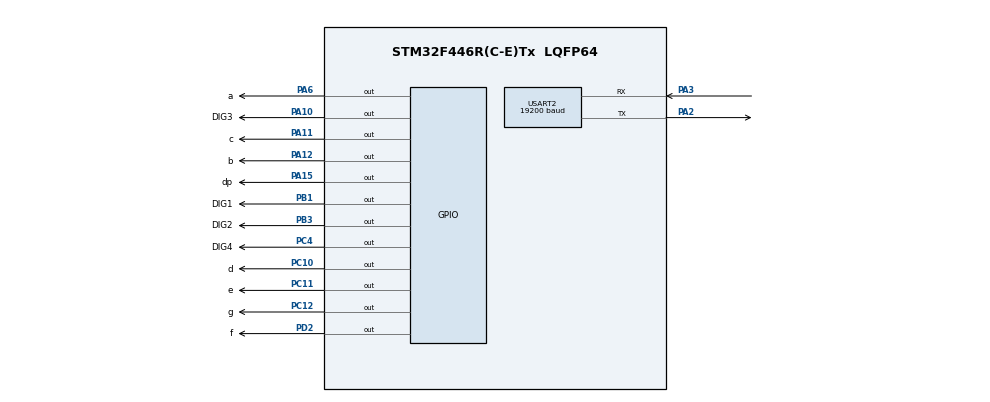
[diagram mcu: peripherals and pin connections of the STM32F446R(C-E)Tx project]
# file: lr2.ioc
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Mcu.Family=STM32F4
RCC.CortexFreq_Value=16000000
PC10.GPIO_Label=d
PC10.Signal=GPIO_Output
PC11.Signal=GPIO_Output
PC12.Signal=GPIO_Output
PC4.Signal=GPIO_Output
PA11.GPIO_Label=c
PA6.GPIO_Label=a
NVIC.USART2_IRQn=true\:0\:0\:false\:false\:true\:true\:true
USART2.BaudRate=19200
PA12.GPIO_Label=b
ProjectManager.StackSize=0x400
PA3.Mode=Asynchronous
PA15.GPIO_Label=dp
PA12.Signal=GPIO_Output
ProjectManager.TargetToolchain=STM32CubeIDE
RCC.USBFreq_Value=96000000
board=custom
RCC.VCOOutputFreq_Value=192000000
PC4.GPIO_Label=DIG4
PB1.GPIO_Label=DIG1
PC11.GPIO_Label=e
PA10.GPIO_Label=DIG3
Mcu.Name=STM32F446R(C-E)Tx
PA2.Signal=USART2_TX
PB3.Signal=GPIO_Output
Mcu.Package=LQFP64
PB1.Signal=GPIO_Output
PA6.Signal=GPIO_Output
USART2.VirtualMode=VM_ASYNC
PC12.GPIO_Label=g
PA11.Signal=GPIO_Output
PA10.Signal=GPIO_Output
PA15.Signal=GPIO_Output
ProjectManager.HeapSize=0x200
NVIC.PriorityGroup=NVIC_PRIORITYGROUP_4
PA2.Mode=Asynchronous
PD2.Signal=GPIO_Output
PD2.GPIO_Label=f
PA3.Signal=USART2_RX
PB3.GPIO_Label=DIG2

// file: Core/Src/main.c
/* USER CODE BEGIN Header */
/**
  ******************************************************************************
  * @file           : main.c
  * @brief          : Main program body
  * @author 		: Denis Kirbaba
  ******************************************************************************
  * @attention
  *
  * <h2><center>&copy; Copyright (c) 2023 STMicroelectronics.
  * All rights reserved.</center></h2>
  *
  * This software component is licensed by ST under BSD 3-Clause license,
  * the "License"; You may not use this file except in compliance with the
  * License. You may obtain a copy of the License at:
  *                        opensource.org/licenses/BSD-3-Clause
  *
  ******************************************************************************
  */
/* USER CODE END Header */
#include "main.h"
#include <stdlib.h>
#include <math.h>
#include <stdio.h>
#include <stdint.h>

UART_HandleTypeDef huart2;

/* USER CODE BEGIN PV */
int n_r;
int res_n;
uint8_t tx_buffer[5];
uint8_t rx_buffer[4];
uint8_t firstByteWait = 1;
/* USER CODE END PV */

void SystemClock_Config(void);
static void MX_GPIO_Init(void);
static void MX_USART2_UART_Init(void);

/* USER CODE BEGIN 0 */

void set_line () {
    HAL_GPIO_WritePin(GPIOA, a_Pin, GPIO_PIN_SET); //A
    HAL_GPIO_WritePin(GPIOA, b_Pin, GPIO_PIN_SET); //B
    HAL_GPIO_WritePin(GPIOA, c_Pin, GPIO_PIN_SET); //C
    HAL_GPIO_WritePin(GPIOC, d_Pin, GPIO_PIN_SET); //D
    HAL_GPIO_WritePin(GPIOC, e_Pin, GPIO_PIN_SET); //E
    HAL_GPIO_WritePin(GPIOD, f_Pin, GPIO_PIN_SET);	//F
    HAL_GPIO_WritePin(GPIOC, g_Pin, GPIO_PIN_RESET);  //G
    HAL_GPIO_WritePin(GPIOA, dp_Pin, GPIO_PIN_SET);  //dp
}

void set_number (int number)
{
    switch (number)
    {
        case 0:
        {
            HAL_GPIO_WritePin(GPIOA, a_Pin, GPIO_PIN_RESET); //A
            HAL_GPIO_WritePin(GPIOA, b_Pin, GPIO_PIN_RESET); //B
            HAL_GPIO_WritePin(GPIOA, c_Pin, GPIO_PIN_RESET); //C
            HAL_GPIO_WritePin(GPIOC, d_Pin, GPIO_PIN_RESET); //D
            HAL_GPIO_WritePin(GPIOC, e_Pin, GPIO_PIN_RESET); //E
            HAL_GPIO_WritePin(GPIOD, f_Pin, GPIO_PIN_RESET);	//F
            HAL_GPIO_WritePin(GPIOC, g_Pin, GPIO_PIN_SET);  //G
            HAL_GPIO_WritePin(GPIOA, dp_Pin, GPIO_PIN_SET);  //dp

            break;
        }

        case 1:
        {
            HAL_GPIO_WritePin(GPIOA, a_Pin, GPIO_PIN_SET); //A
            HAL_GPIO_WritePin(GPIOA, b_Pin, GPIO_PIN_RESET); //B
            HAL_GPIO_WritePin(GPIOA, c_Pin, GPIO_PIN_RESET); //C
            HAL_GPIO_WritePin(GPIOC, d_Pin, GPIO_PIN_SET); //D
            HAL_GPIO_WritePin(GPIOC, e_Pin, GPIO_PIN_SET); //E
            HAL_GPIO_WritePin(GPIOD, f_Pin, GPIO_PIN_SET);	//F
            HAL_GPIO_WritePin(GPIOC, g_Pin, GPIO_PIN_SET);  //G
            HAL_GPIO_WritePin(GPIOA, dp_Pin, GPIO_PIN_SET);  //dp

            break;
        }

        case 2:
        {
            HAL_GPIO_WritePin(GPIOA, a_Pin, GPIO_PIN_RESET); //A
            HAL_GPIO_WritePin(GPIOA, b_Pin, GPIO_PIN_RESET); //B
            HAL_GPIO_WritePin(GPIOA, c_Pin, GPIO_PIN_SET); //C
            HAL_GPIO_WritePin(GPIOC, d_Pin, GPIO_PIN_RESET); //D
            HAL_GPIO_WritePin(GPIOC, e_Pin, GPIO_PIN_RESET); //E
            HAL_GPIO_WritePin(GPIOD, f_Pin, GPIO_PIN_SET);	//F
            HAL_GPIO_WritePin(GPIOC, g_Pin, GPIO_PIN_RESET);  //G
            HAL_GPIO_WritePin(GPIOA, dp_Pin, GPIO_PIN_SET);  //dp

            break;
        }

        case 3:
        {
            HAL_GPIO_WritePin(GPIOA, a_Pin, GPIO_PIN_RESET); //A
            HAL_GPIO_WritePin(GPIOA, b_Pin, GPIO_PIN_RESET); //B
            HAL_GPIO_WritePin(GPIOA, c_Pin, GPIO_PIN_RESET); //C
            HAL_GPIO_WritePin(GPIOC, d_Pin, GPIO_PIN_RESET); //D
            HAL_GPIO_WritePin(GPIOC, e_Pin, GPIO_PIN_SET); //E
            HAL_GPIO_WritePin(GPIOD, f_Pin, GPIO_PIN_SET);	//F
            HAL_GPIO_WritePin(GPIOC, g_Pin, GPIO_PIN_RESET);  //G

            HAL_GPIO_WritePin(GPIOA, dp_Pin, GPIO_PIN_SET);  //dp

            break;
        }

        case 4:
        {
            HAL_GPIO_WritePin(GPIOA, a_Pin, GPIO_PIN_SET); //A
            HAL_GPIO_WritePin(GPIOA, b_Pin, GPIO_PIN_RESET); //B
            HAL_GPIO_WritePin(GPIOA, c_Pin, GPIO_PIN_RESET); //C
            HAL_GPIO_WritePin(GPIOC, d_Pin, GPIO_PIN_SET); //D
            HAL_GPIO_WritePin(GPIOC, e_Pin, GPIO_PIN_SET); //E
            HAL_GPIO_WritePin(GPIOD, f_Pin, GPIO_PIN_RESET);	//F
            HAL_GPIO_WritePin(GPIOC, g_Pin, GPIO_PIN_RESET);  //G
            HAL_GPIO_WritePin(GPIOA, dp_Pin, GPIO_PIN_SET);  //dp

            break;
        }

        case 5:
        {
            HAL_GPIO_WritePin(GPIOA, a_Pin, GPIO_PIN_RESET); //A
            HAL_GPIO_WritePin(GPIOA, b_Pin, GPIO_PIN_SET); //B
            HAL_GPIO_WritePin(GPIOA, c_Pin, GPIO_PIN_RESET); //C
            HAL_GPIO_WritePin(GPIOC, d_Pin, GPIO_PIN_RESET); //D
            HAL_GPIO_WritePin(GPIOC, e_Pin, GPIO_PIN_SET); //E
            HAL_GPIO_WritePin(GPIOD, f_Pin, GPIO_PIN_RESET);	//F
            HAL_GPIO_WritePin(GPIOC, g_Pin, GPIO_PIN_RESET);  //G
            HAL_GPIO_WritePin(GPIOA, dp_Pin, GPIO_PIN_SET);  //dp

            break;
        }

        case 6:
        {
            HAL_GPIO_WritePin(GPIOA, a_Pin, GPIO_PIN_RESET); //A
            HAL_GPIO_WritePin(GPIOA, b_Pin, GPIO_PIN_SET); //B
            HAL_GPIO_WritePin(GPIOA, c_Pin, GPIO_PIN_RESET); //C
            HAL_GPIO_WritePin(GPIOC, d_Pin, GPIO_PIN_RESET); //D
            HAL_GPIO_WritePin(GPIOC, e_Pin, GPIO_PIN_RESET); //E
            HAL_GPIO_WritePin(GPIOD, f_Pin, GPIO_PIN_RESET);	//F
            HAL_GPIO_WritePin(GPIOC, g_Pin, GPIO_PIN_RESET);  //G
            HAL_GPIO_WritePin(GPIOA, dp_Pin, GPIO_PIN_SET);  //dp

            break;
        }

        case 7:
        {
            HAL_GPIO_WritePin(GPIOA, a_Pin, GPIO_PIN_RESET); //A
            HAL_GPIO_WritePin(GPIOA, b_Pin, GPIO_PIN_RESET); //B
            HAL_GPIO_WritePin(GPIOA, c_Pin, GPIO_PIN_RESET); //C
            HAL_GPIO_WritePin(GPIOC, d_Pin, GPIO_PIN_SET); //D
            HAL_GPIO_WritePin(GPIOC, e_Pin, GPIO_PIN_SET); //E
            HAL_GPIO_WritePin(GPIOD, f_Pin, GPIO_PIN_SET);	//F
            HAL_GPIO_WritePin(GPIOC, g_Pin, GPIO_PIN_SET);  //G
            HAL_GPIO_WritePin(GPIOA, dp_Pin, GPIO_PIN_SET);  //dp

            break;
        }

        case 8:
        {
            HAL_GPIO_WritePin(GPIOA, a_Pin, GPIO_PIN_RESET); //A
            HAL_GPIO_WritePin(GPIOA, b_Pin, GPIO_PIN_RESET); //B
            HAL_GPIO_WritePin(GPIOA, c_Pin, GPIO_PIN_RESET); //C
            HAL_GPIO_WritePin(GPIOC, d_Pin, GPIO_PIN_RESET); //D
            HAL_GPIO_WritePin(GPIOC, e_Pin, GPIO_PIN_RESET); //E
            HAL_GPIO_WritePin(GPIOD, f_Pin, GPIO_PIN_RESET);	//F
            HAL_GPIO_WritePin(GPIOC, g_Pin, GPIO_PIN_RESET);  //G
            HAL_GPIO_WritePin(GPIOA, dp_Pin, GPIO_PIN_SET);  //dp

            break;
        }

        case 9:
        {
            HAL_GPIO_WritePin(GPIOA, a_Pin, GPIO_PIN_RESET); //A
            HAL_GPIO_WritePin(GPIOA, b_Pin, GPIO_PIN_RESET); //B
            HAL_GPIO_WritePin(GPIOA, c_Pin, GPIO_PIN_RESET); //C
            HAL_GPIO_WritePin(GPIOC, d_Pin, GPIO_PIN_RESET); //D
            HAL_GPIO_WritePin(GPIOC, e_Pin, GPIO_PIN_SET); //E
            HAL_GPIO_WritePin(GPIOD, f_Pin, GPIO_PIN_RESET);	//F
            HAL_GPIO_WritePin(GPIOC, g_Pin, GPIO_PIN_RESET);  //G
            HAL_GPIO_WritePin(GPIOA, dp_Pin, GPIO_PIN_SET);  //dp

            break;
        }
    }
}

void display_undef () {
    HAL_GPIO_WritePin(GPIOB, DIG1_Pin, GPIO_PIN_SET);
    HAL_GPIO_WritePin(GPIOB, DIG2_Pin, GPIO_PIN_SET);
    HAL_GPIO_WritePin(GPIOA, DIG3_Pin, GPIO_PIN_SET);
    HAL_GPIO_WritePin(GPIOC, DIG4_Pin, GPIO_PIN_RESET);
    set_line();
    HAL_Delay(1);

    HAL_GPIO_WritePin(GPIOB, DIG1_Pin, GPIO_PIN_SET);
    HAL_GPIO_WritePin(GPIOB, DIG2_Pin, GPIO_PIN_SET);
    HAL_GPIO_WritePin(GPIOA, DIG3_Pin, GPIO_PIN_RESET);
    HAL_GPIO_WritePin(GPIOC, DIG4_Pin, GPIO_PIN_SET);
    set_line();
    HAL_Delay(1);

    HAL_GPIO_WritePin(GPIOB, DIG1_Pin, GPIO_PIN_SET);
    HAL_GPIO_WritePin(GPIOB, DIG2_Pin, GPIO_PIN_RESET);
    HAL_GPIO_WritePin(GPIOA, DIG3_Pin, GPIO_PIN_SET);
    HAL_GPIO_WritePin(GPIOC, DIG4_Pin, GPIO_PIN_SET);
    set_line();
    HAL_Delay(1);

    HAL_GPIO_WritePin(GPIOB, DIG1_Pin, GPIO_PIN_RESET);
    HAL_GPIO_WritePin(GPIOB, DIG2_Pin, GPIO_PIN_SET);
    HAL_GPIO_WritePin(GPIOA, DIG3_Pin, GPIO_PIN_SET);
    HAL_GPIO_WritePin(GPIOC, DIG4_Pin, GPIO_PIN_SET);
    set_line();
    HAL_Delay(1);
}

void display_number (int number){

    HAL_GPIO_WritePin(GPIOB, DIG1_Pin, GPIO_PIN_SET);
    HAL_GPIO_WritePin(GPIOB, DIG2_Pin, GPIO_PIN_SET);
    HAL_GPIO_WritePin(GPIOA, DIG3_Pin, GPIO_PIN_SET);
    HAL_GPIO_WritePin(GPIOC, DIG4_Pin, GPIO_PIN_RESET);
    set_number(number % 10);
    HAL_Delay(1);

    HAL_GPIO_WritePin(GPIOB, DIG1_Pin, GPIO_PIN_SET);
    HAL_GPIO_WritePin(GPIOB, DIG2_Pin, GPIO_PIN_SET);
    HAL_GPIO_WritePin(GPIOA, DIG3_Pin, GPIO_PIN_RESET);
    HAL_GPIO_WritePin(GPIOC, DIG4_Pin, GPIO_PIN_SET);
    set_number(number / 10 % 10);
    HAL_Delay(1);

    HAL_GPIO_WritePin(GPIOB, DIG1_Pin, GPIO_PIN_SET);
    HAL_GPIO_WritePin(GPIOB, DIG2_Pin, GPIO_PIN_RESET);
    HAL_GPIO_WritePin(GPIOA, DIG3_Pin, GPIO_PIN_SET);
    HAL_GPIO_WritePin(GPIOC, DIG4_Pin, GPIO_PIN_SET);
    set_number(number / 100 % 10);
    HAL_Delay(1);

    HAL_GPIO_WritePin(GPIOB, DIG1_Pin, GPIO_PIN_RESET);
    HAL_GPIO_WritePin(GPIOB, DIG2_Pin, GPIO_PIN_SET);
    HAL_GPIO_WritePin(GPIOA, DIG3_Pin, GPIO_PIN_SET);
    HAL_GPIO_WritePin(GPIOC, DIG4_Pin, GPIO_PIN_SET);
    set_number(number / 1000 % 10);
    HAL_Delay(1);

}

/* USER CODE END 0 */

int main(void)
{

  /* MCU Configuration--------------------------------------------------------*/

  /* Reset of all peripherals, Initializes the Flash interface and the Systick. */
  HAL_Init();

  /* Configure the system clock */
  SystemClock_Config();

  /* Initialize all configured peripherals */
  MX_GPIO_Init();
  MX_USART2_UART_Init();
  /* USER CODE BEGIN 2 */
  //HAL_UART_Receive_IT(&huart2, &rx_buffer, 3);
  /* USER CODE END 2 */

  /* Infinite loop */
  /* USER CODE BEGIN WHILE */
  rx_buffer[0] = 0; rx_buffer[1] = 0; rx_buffer[2] = 0; rx_buffer[3] = 0;

  display_number(1234);

  HAL_UART_Receive_IT(&huart2, rx_buffer, 1);

  while (1)
  {
    /* USER CODE END WHILE */

  }
}

void SystemClock_Config(void)
{
  RCC_OscInitTypeDef RCC_OscInitStruct = {0};
  RCC_ClkInitTypeDef RCC_ClkInitStruct = {0};

  /** Configure the main internal regulator output voltage
  */
  __HAL_RCC_PWR_CLK_ENABLE();
  __HAL_PWR_VOLTAGESCALING_CONFIG(PWR_REGULATOR_VOLTAGE_SCALE3);
  /** Initializes the RCC Oscillators according to the specified parameters
  * in the RCC_OscInitTypeDef structure.
  */
  RCC_OscInitStruct.OscillatorType = RCC_OSCILLATORTYPE_HSI;
  RCC_OscInitStruct.HSIState = RCC_HSI_ON;
  RCC_OscInitStruct.HSICalibrationValue = RCC_HSICALIBRATION_DEFAULT;
  RCC_OscInitStruct.PLL.PLLState = RCC_PLL_NONE;
  if (HAL_RCC_OscConfig(&RCC_OscInitStruct) != HAL_OK)
  {
    Error_Handler();
  }
  /** Initializes the CPU, AHB and APB buses clocks
  */
  RCC_ClkInitStruct.ClockType = RCC_CLOCKTYPE_HCLK|RCC_CLOCKTYPE_SYSCLK
                              |RCC_CLOCKTYPE_PCLK1|RCC_CLOCKTYPE_PCLK2;
  RCC_ClkInitStruct.SYSCLKSource = RCC_SYSCLKSOURCE_HSI;
  RCC_ClkInitStruct.AHBCLKDivider = RCC_SYSCLK_DIV1;
  RCC_ClkInitStruct.APB1CLKDivider = RCC_HCLK_DIV1;
  RCC_ClkInitStruct.APB2CLKDivider = RCC_HCLK_DIV1;

  if (HAL_RCC_ClockConfig(&RCC_ClkInitStruct, FLASH_LATENCY_0) != HAL_OK)
  {
    Error_Handler();
  }
}

static void MX_USART2_UART_Init(void)
{

  huart2.Instance = USART2;
  huart2.Init.BaudRate = 19200;
  huart2.Init.WordLength = UART_WORDLENGTH_8B;
  huart2.Init.StopBits = UART_STOPBITS_1;
  huart2.Init.Parity = UART_PARITY_NONE;
  huart2.Init.Mode = UART_MODE_TX_RX;
  huart2.Init.HwFlowCtl = UART_HWCONTROL_NONE;
  huart2.Init.OverSampling = UART_OVERSAMPLING_16;
  if (HAL_UART_Init(&huart2) != HAL_OK)
  {
    Error_Handler();
  }

}

static void MX_GPIO_Init(void)
{
  GPIO_InitTypeDef GPIO_InitStruct = {0};

  /* GPIO Ports Clock Enable */
  __HAL_RCC_GPIOA_CLK_ENABLE();
  __HAL_RCC_GPIOC_CLK_ENABLE();
  __HAL_RCC_GPIOB_CLK_ENABLE();
  __HAL_RCC_GPIOD_CLK_ENABLE();

  /*Configure GPIO pin Output Level */
  HAL_GPIO_WritePin(GPIOA, a_Pin|DIG3_Pin|c_Pin|b_Pin
                          |dp_Pin, GPIO_PIN_RESET);

  /*Configure GPIO pin Output Level */
  HAL_GPIO_WritePin(GPIOC, DIG4_Pin|d_Pin|e_Pin|g_Pin, GPIO_PIN_RESET);

  /*Configure GPIO pin Output Level */
  HAL_GPIO_WritePin(GPIOB, DIG1_Pin|DIG2_Pin, GPIO_PIN_RESET);

  /*Configure GPIO pin Output Level */
  HAL_GPIO_WritePin(f_GPIO_Port, f_Pin, GPIO_PIN_RESET);

  /*Configure GPIO pins : a_Pin DIG3_Pin c_Pin b_Pin
                           dp_Pin */
  GPIO_InitStruct.Pin = a_Pin|DIG3_Pin|c_Pin|b_Pin
                          |dp_Pin;
  GPIO_InitStruct.Mode = GPIO_MODE_OUTPUT_PP;
  GPIO_InitStruct.Pull = GPIO_NOPULL;
  GPIO_InitStruct.Speed = GPIO_SPEED_FREQ_LOW;
  HAL_GPIO_Init(GPIOA, &GPIO_InitStruct);

  /*Configure GPIO pins : DIG4_Pin d_Pin e_Pin g_Pin */
  GPIO_InitStruct.Pin = DIG4_Pin|d_Pin|e_Pin|g_Pin;
  GPIO_InitStruct.Mode = GPIO_MODE_OUTPUT_PP;
  GPIO_InitStruct.Pull = GPIO_NOPULL;
  GPIO_InitStruct.Speed = GPIO_SPEED_FREQ_LOW;
  HAL_GPIO_Init(GPIOC, &GPIO_InitStruct);

  /*Configure GPIO pins : DIG1_Pin DIG2_Pin */
  GPIO_InitStruct.Pin = DIG1_Pin|DIG2_Pin;
  GPIO_InitStruct.Mode = GPIO_MODE_OUTPUT_PP;
  GPIO_InitStruct.Pull = GPIO_NOPULL;
  GPIO_InitStruct.Speed = GPIO_SPEED_FREQ_LOW;
  HAL_GPIO_Init(GPIOB, &GPIO_InitStruct);

  /*Configure GPIO pin : f_Pin */
  GPIO_InitStruct.Pin = f_Pin;
  GPIO_InitStruct.Mode = GPIO_MODE_OUTPUT_PP;
  GPIO_InitStruct.Pull = GPIO_NOPULL;
  GPIO_InitStruct.Speed = GPIO_SPEED_FREQ_LOW;
  HAL_GPIO_Init(f_GPIO_Port, &GPIO_InitStruct);

}

/* USER CODE BEGIN 4 */
void HAL_UART_RxCpltCallback(UART_HandleTypeDef *huart) {
	if (huart == &huart2) {
		if (firstByteWait != 0) {
			firstByteWait = 0;
			HAL_UART_Receive_IT(&huart2, rx_buffer, 3);
		}
		else {
			n_r = ((int)rx_buffer[1] - 48) * 10 + ((int)rx_buffer[2] - 48);  // since the numbers (digits) start from 48 in ASCII code
			if (n_r == 0) {
				display_undef();
				sprintf(tx_buffer, "N--E");
			}
			else {
				res_n = (int)round(log(n_r));
				display_number(res_n);
				sprintf(tx_buffer, "N0%u", res_n);
			}
			HAL_UART_Transmit_IT(&huart2, tx_buffer, 4);

			rx_buffer[0] = 0; rx_buffer[1] = 0; rx_buffer[2] = 0; rx_buffer[3] = 0;
			firstByteWait = 1;
			HAL_UART_Receive_IT(&huart2, rx_buffer, 1);
		}
	}
}
/* USER CODE END 4 */

void Error_Handler(void)
{
  __disable_irq();
  while (1)
  {
  }
}

/************************ (C) COPYRIGHT STMicroelectronics *****END OF FILE****/
